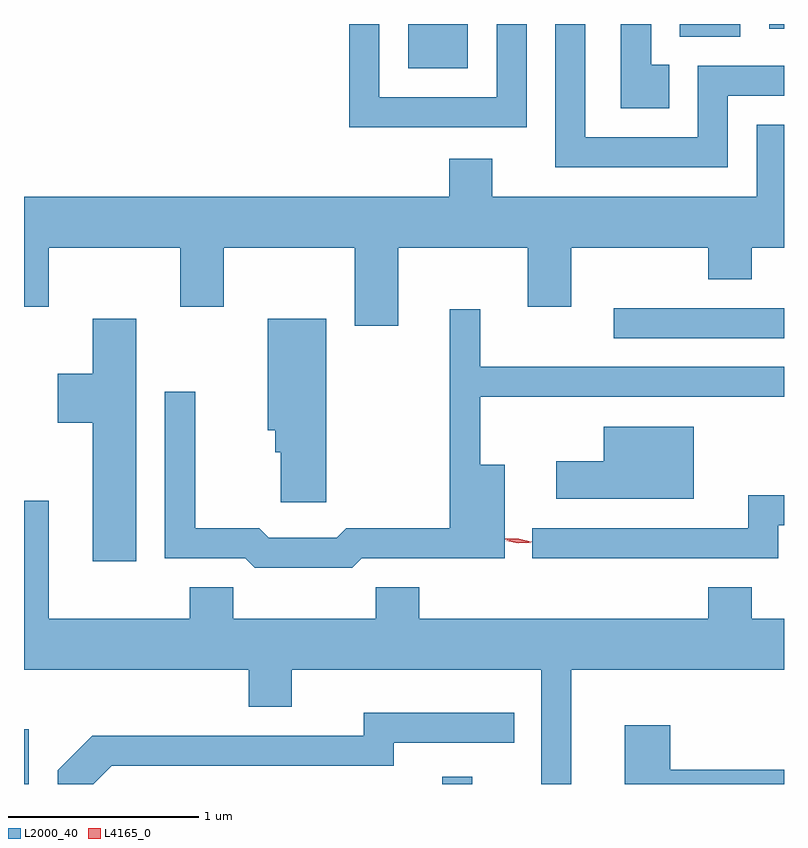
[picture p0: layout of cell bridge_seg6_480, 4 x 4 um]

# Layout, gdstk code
import gdstk
lib = gdstk.Library(unit=1e-6, precision=1e-09)
def R(c, l, rs):  # rectangles x0, y0, x1, y1
    for r in rs: c.add(gdstk.rectangle(r[:2], r[2:], *l))
def P(c, l, *ps):  # polygons
    for p in ps: c.add(gdstk.Polygon(p, *l))
L2000_40 = (2000, 40)
L4165_0 = (4165, 0)

bridge_seg6_480 = lib.new_cell('bridge_seg6_480')
R(bridge_seg6_480, L2000_40, [(903.994,1544.994,904.019,1545.283), (906.196,1544.994,906.354,1545.033), (907.098,1547.341,907.994,1547.499), (906.016,1548.761,906.329,1548.994), (907.446,1548.926,907.764,1548.994), (907.916,1548.968,907.994,1548.994)])
P(bridge_seg6_480, L2000_40, [(907.699,1548.616),(907.994,1548.616),(907.994,1548.774),(907.541,1548.774),(907.541,1548.399),(906.949,1548.399),(906.949,1548.994),(906.791,1548.994),(906.791,1548.241),(907.699,1548.241)],
  [(907.389,1548.779),(907.294,1548.779),(907.294,1548.994),(907.136,1548.994),(907.136,1548.551),(907.389,1548.551)],
  [(906.639,1548.994),(906.481,1548.994),(906.481,1548.609),(905.864,1548.609),(905.864,1548.994),(905.706,1548.994),(905.706,1548.451),(906.639,1548.451)],
  [(905.964,1547.816),(906.646,1547.816),(906.646,1547.506),(906.874,1547.506),(906.874,1547.816),(907.596,1547.816),(907.596,1547.651),(907.824,1547.651),(907.824,1547.816),(907.994,1547.816),(907.994,1548.464),(907.851,1548.464),(907.851,1548.084),(906.459,1548.084),(906.459,1548.284),(906.231,1548.284),(906.231,1548.084),(903.994,1548.084),(903.994,1547.506),(904.124,1547.506),(904.124,1547.816),(904.816,1547.816),(904.816,1547.506),(905.044,1547.506),(905.044,1547.816),(905.736,1547.816),(905.736,1547.406),(905.964,1547.406)],
  [(905.772,1546.181),(906.524,1546.181),(906.524,1546.674),(906.394,1546.674),(906.394,1547.031),(907.994,1547.031),(907.994,1547.189),(906.394,1547.189),(906.394,1547.493),(906.236,1547.493),(906.236,1546.339),(905.689,1546.339),(905.639,1546.289),(905.282,1546.289),(905.232,1546.339),(904.894,1546.339),(904.894,1547.058),(904.736,1547.058),(904.736,1546.181),(905.159,1546.181),(905.209,1546.131),(905.722,1546.131)],
  [(904.584,1547.444),(904.356,1547.444),(904.356,1547.154),(904.171,1547.154),(904.171,1546.896),(904.356,1546.896),(904.356,1546.166),(904.584,1546.166)],
  [(905.584,1547.444),(905.276,1547.444),(905.276,1546.856),(905.316,1546.856),(905.316,1546.741),(905.346,1546.741),(905.346,1546.476),(905.584,1546.476)],
  [(907.519,1546.874),(907.046,1546.874),(907.046,1546.694),(906.796,1546.694),(906.796,1546.496),(907.519,1546.496)],
  [(907.964,1546.356),(907.994,1546.356),(907.994,1546.514),(907.806,1546.514),(907.806,1546.339),(906.668,1546.339),(906.668,1546.181),(907.964,1546.181)],
  [(906.874,1545.596),(907.994,1545.596),(907.994,1545.864),(907.824,1545.864),(907.824,1546.029),(907.596,1546.029),(907.596,1545.864),(906.074,1545.864),(906.074,1546.029),(905.846,1546.029),(905.846,1545.864),(905.094,1545.864),(905.094,1546.029),(904.866,1546.029),(904.866,1545.864),(904.124,1545.864),(904.124,1546.484),(903.994,1546.484),(903.994,1545.596),(905.176,1545.596),(905.176,1545.401),(905.404,1545.401),(905.404,1545.596),(906.716,1545.596),(906.716,1544.994),(906.874,1544.994)],
  [(904.457,1545.091),(905.939,1545.091),(905.939,1545.211),(906.573,1545.211),(906.573,1545.369),(905.781,1545.369),(905.781,1545.249),(904.354,1545.249),(904.171,1545.067),(904.171,1544.994),(904.359,1544.994)],
  [(907.994,1545.069),(907.394,1545.069),(907.394,1545.304),(907.156,1545.304),(907.156,1544.994),(907.994,1544.994)])
P(bridge_seg6_480, L4165_0, [(906.596,1546.266),(906.528,1546.283),(906.528,1546.283),(906.528,1546.284),(906.598,1546.286),(906.665,1546.27),(906.666,1546.27),(906.665,1546.269)],
  [(906.595,1546.26),(906.531,1546.274),(906.53,1546.275),(906.531,1546.275),(906.597,1546.28),(906.662,1546.265),(906.662,1546.264),(906.662,1546.264)])

lib.write_gds('bridge_seg6_480.gds')
